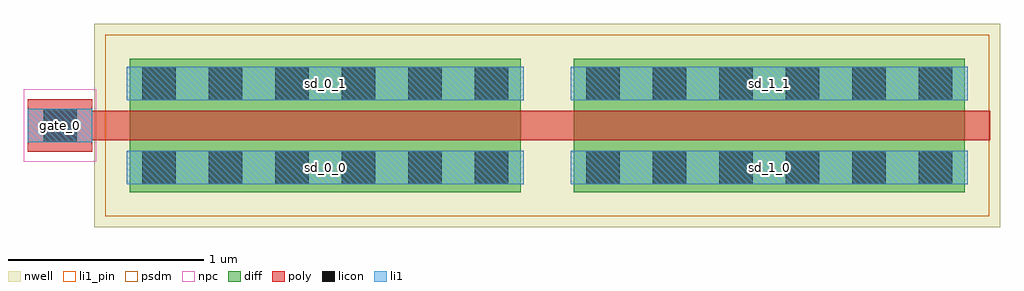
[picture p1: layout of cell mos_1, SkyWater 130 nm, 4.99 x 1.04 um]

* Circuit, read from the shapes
.subckt mos_1 gate_0 sd_0_0 sd_0_1 sd_1_0 sd_1_1
XM1 sd_0_1 gate_0 sd_0_0 n1 sky130_fd_pr__pfet_01v8 w=2 l=0.15
XM2 sd_1_1 gate_0 sd_1_0 n1 sky130_fd_pr__pfet_01v8 w=2 l=0.15
.ends

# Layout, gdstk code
import gdstk
lib = gdstk.Library(unit=1e-6, precision=1e-09)
def R(c, l, rs):  # rectangles x0, y0, x1, y1
    for r in rs: c.add(gdstk.rectangle(r[:2], r[2:], *l))
def A(c, l, x, y, w, h, nx, ny, dx, dy):  # array of equal rectangles
    R(c, l, [(x+i*dx, y+j*dy, x+i*dx+w, y+j*dy+h) for i in range(nx) for j in range(ny)])
nwell = (64, 20)
diff = (65, 20)
poly = (66, 20)
licon = (66, 44)
li1_pin = (67, 16)
li1 = (67, 20)
psdm = (94, 20)
npc = (95, 20)

via = lib.new_cell('via')
R(via, poly, [(-0.165,-0.135,0.165,0.135)])
R(via, licon, [(-0.085,-0.085,0.085,0.085)])
R(via, li1, [(-0.165,-0.085,0.165,0.085)])
R(via, npc, [(-0.185,-0.185,0.185,0.185)])

via_16 = lib.new_cell('via_16')
R(via_16, diff, [(0.005,-0.125,1.995,0.125)])
A(via_16, licon, 0.065, -0.085, 0.17, 0.17, 6, 1, 0.34, 0)
R(via_16, li1, [(-0.015,-0.085,2.015,0.085)])

mos_1 = lib.new_cell('mos_1')
R(mos_1, nwell, [(-0.18,-0.18,2.18,0.86), (2.09,-0.18,4.45,0.86)])
R(mos_1, diff, [(0,0,2,0.68), (2.27,0,4.27,0.68)])
R(mos_1, poly, [(-0.19,0.265,4.4,0.415)])
R(mos_1, li1_pin, [(-0.015,0.04,2.015,0.21), (2.255,0.04,4.285,0.21), (-0.52,0.255,-0.19,0.425), (-0.015,0.47,2.015,0.64), (2.255,0.47,4.285,0.64)])
R(mos_1, li1, [(-0.015,0.04,2.015,0.21), (2.255,0.04,4.285,0.21), (-0.52,0.255,-0.19,0.425), (-0.015,0.47,2.015,0.64), (2.255,0.47,4.285,0.64)])
R(mos_1, psdm, [(-0.125,-0.125,2.125,0.805), (-0.125,-0.125,4.395,0.805)])
R(mos_1, npc, [(-0.54,0.155,-0.17,0.525)])
mos_1.add(gdstk.Reference(via, (-0.355,0.34)))
mos_1.add(gdstk.Reference(via_16, (0,0.125)))
mos_1.add(gdstk.Reference(via_16, (2.27,0.125)))
mos_1.add(gdstk.Reference(via_16, (0,0.555)))
mos_1.add(gdstk.Reference(via_16, (2.27,0.555)))
mos_1.add(gdstk.Label('sd_1_0', (3.27,0.125), layer=67, texttype=5))
mos_1.add(gdstk.Label('sd_1_1', (3.27,0.555), layer=67, texttype=5))
mos_1.add(gdstk.Label('sd_0_0', (1,0.125), layer=67, texttype=5))
mos_1.add(gdstk.Label('gate_0', (-0.355,0.34), layer=67, texttype=5))
mos_1.add(gdstk.Label('sd_0_1', (1,0.555), layer=67, texttype=5))

lib.write_gds('mos_1.gds')
